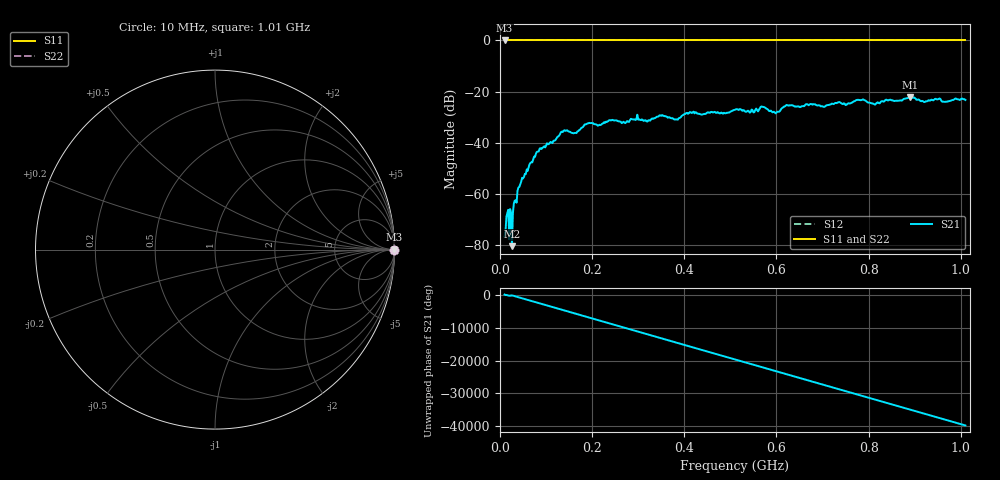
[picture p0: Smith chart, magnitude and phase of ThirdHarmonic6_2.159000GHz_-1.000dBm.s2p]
! 8/17/2025 1:46:30 AM
! C:\ANRITSUVNA\TEMP\TEMP.S2P
! CHANNEL.1
! TR.MEASUREMENT
! RAW.DATA
! RF.CORRECTION.OFF
! AVERAGING.OFF
! IF.BANDWIDTH: 5KHZ
! SWEEPTYPE:  FREQ.SWEEP(Linear)
! Reference Plane Port Info
! PORT:  PORT1  PORT2
! DISTANCE:  0  m  0  m
! TIME:  0  s  0  s
! PHASE.OFFSET:  0  deg.  0  deg.
! LOSS:  0  dB  0  dB
! REF.LOSS:  0  dB  0  dB
! REF.FREQ:  0  Hz  0  Hz
! Power Info
! POWER:  -20  dBm  -20  dBm
! EFF.POWER:  -20  dBm  -20  dBm
! SOURCE.ATTEN:  0  dB  0  dB
! TEST.ATTEN:  0  dB  0  dB
# GHZ S RI R 50.0
! FREQ.GHZ  S11RE  S11IM  S21RE  S21IM  S12RE  S12IM  S22RE  S22IM
!; PortSelection: Port_12
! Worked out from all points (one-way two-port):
!   501 points, 10 MHz to 1.01 GHz, reference 50 ohm
!   highest |S21| = -22.25 dB at 890 MHz (marker M1); lowest = -80.4 dB at 26 MHz (marker M2)
!   lowest |S11| = 0.0 dB at 10 MHz (marker M3)
!   |S11| at or under -10 dB: nowhere
!   |S22| runs from 0.0 to 0.0 dB; largest |S21 - S12| = 1.1
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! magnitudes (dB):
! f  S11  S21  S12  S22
! 10 MHz  0.0  -76.7  0.0  0.0
! 18 MHz  0.0  -66.2  0.0  0.0
! 24 MHz  0.0  -67.5  0.0  0.0
! 26 MHz  0.0  -80.4  0.0  0.0
! 44 MHz  0.0  -56.2  0.0  0.0
! 82 MHz  0.0  -43.5  0.0  0.0
! 136 MHz  0.0  -35.8  0.0  0.0
! 162 MHz  0.0  -36.2  0.0  0.0
! 178 MHz  0.0  -34.1  0.0  0.0
! 194 MHz  0.0  -32.2  0.0  0.0
! 344 MHz  0.0  -29.7  0.0  0.0
! 382 MHz  0.0  -30.8  0.0  0.0
! 416 MHz  0.0  -28.4  0.0  0.0
! 510 MHz  0.0  -27.1  0.0  0.0
! 546 MHz  0.0  -27.0  0.0  0.0
! 570 MHz  0.0  -26.0  0.0  0.0
! 600 MHz  0.0  -28.2  0.0  0.0
! 624 MHz  0.0  -25.4  0.0  0.0
! 678 MHz  0.0  -25.1  0.0  0.0
! 844 MHz  0.0  -23.3  0.0  0.0
! 890 MHz  0.0  -22.2  0.0  0.0
! 1.01 GHz  0.0  -23.3  0.0  0.0
